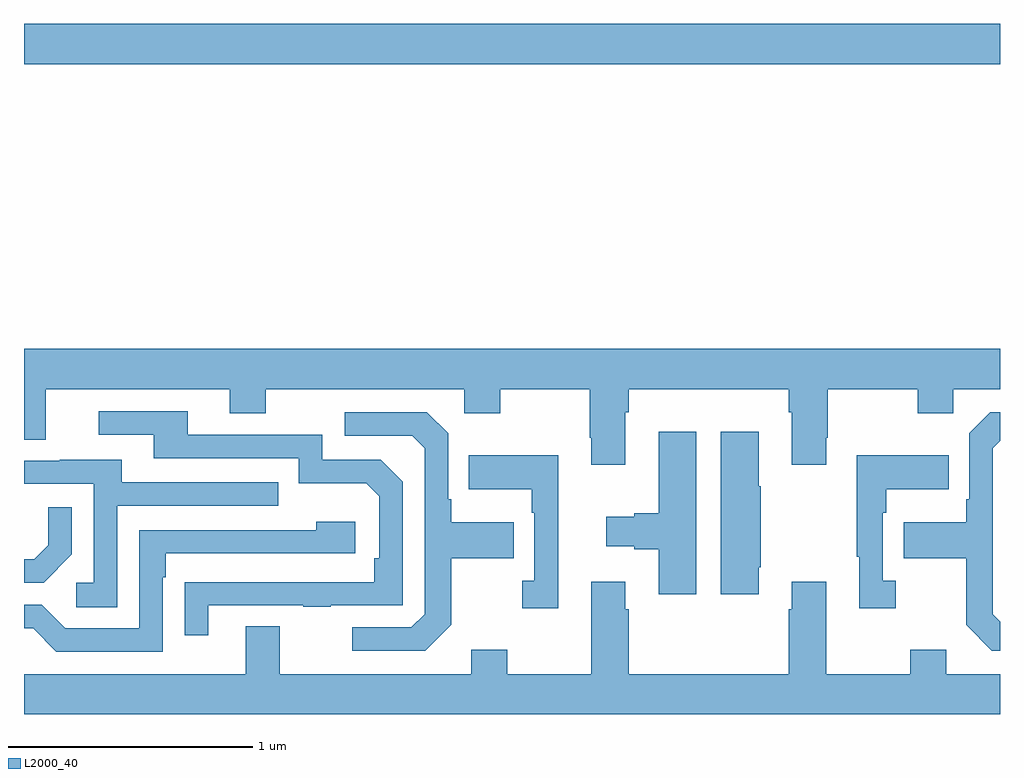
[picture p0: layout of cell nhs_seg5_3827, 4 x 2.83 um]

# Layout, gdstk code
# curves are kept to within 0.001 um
import gdstk
lib = gdstk.Library(unit=1e-6, precision=1e-09)
def R(c, l, rs):  # rectangles x0, y0, x1, y1
    for r in rs: c.add(gdstk.rectangle(r[:2], r[2:], *l))
def P(c, l, *ps):  # polygons
    for p in ps: c.add(gdstk.Polygon(p, *l))
L2000_40 = (2000, 40)

nhs_seg5_3827 = lib.new_cell('nhs_seg5_3827')
R(nhs_seg5_3827, L2000_40, [(335,914.036,339,914.2)])
P(nhs_seg5_3827, L2000_40, [(337.465,912.608),(337.478,912.608),(337.478,912.704),(338.135,912.704),(338.135,912.608),(338.147,912.608),(338.147,912.393),(338.287,912.393),(338.287,912.505),(338.295,912.505),(338.295,912.704),(338.662,912.704),(338.662,912.605),(338.808,912.605),(338.808,912.704),(339,912.704),(339,912.868),(335,912.868),(335,912.496),(335.089,912.496),(335.089,912.704),(335.843,912.704),(335.843,912.605),(335.991,912.605),(335.991,912.704),(336.804,912.704),(336.804,912.605),(336.951,912.605),(336.951,912.704),(337.318,912.704),(337.318,912.505),(337.325,912.505),(337.325,912.393),(337.465,912.393)],
  [(335.755,911.817),(336.145,911.817),(336.145,911.812),(336.257,911.812),(336.257,911.817),(336.552,911.817),(336.552,912.324),(336.462,912.414),(336.222,912.414),(336.222,912.516),(335.671,912.516),(335.671,912.612),(335.307,912.612),(335.307,912.516),(335.531,912.516),(335.531,912.42),(336.126,912.42),(336.126,912.317),(336.403,912.317),(336.456,912.264),(336.456,912.01),(336.436,912.01),(336.436,911.913),(335.659,911.912),(335.659,911.694),(335.755,911.694)],
  [(339,911.751),(338.97,911.781),(338.97,912.462),(339,912.492),(339,912.609),(338.961,912.609),(338.874,912.522),(338.874,912.253),(338.862,912.253),(338.862,912.157),(338.605,912.157),(338.605,912.01),(338.862,912.01),(338.862,911.737),(338.967,911.631),(339,911.631)],
  [(336.751,911.737),(336.751,912.01),(337.007,912.01),(337.007,912.157),(336.751,912.157),(336.751,912.253),(336.738,912.253),(336.738,912.522),(336.651,912.609),(336.315,912.609),(336.315,912.513),(336.591,912.513),(336.642,912.462),(336.642,911.781),(336.588,911.727),(336.345,911.727),(336.345,911.631),(336.645,911.631)],
  [(337.756,912.529),(337.601,912.529),(337.601,912.194),(337.502,912.194),(337.502,912.181),(337.386,912.181),(337.386,912.059),(337.502,912.059),(337.502,912.047),(337.601,912.047),(337.601,911.862),(337.756,911.862)],
  [(338.011,911.974),(338.019,911.974),(338.019,912.305),(338.011,912.305),(338.011,912.529),(337.856,912.529),(337.856,911.862),(338.011,911.862)],
  [(338.572,911.918),(338.52,911.918),(338.52,912.197),(338.533,912.197),(338.533,912.293),(338.789,912.293),(338.789,912.433),(338.412,912.433),(338.412,912.017),(338.423,912.017),(338.423,911.805),(338.572,911.805)],
  [(337.19,912.433),(336.823,912.433),(336.823,912.293),(337.08,912.293),(337.08,912.197),(337.092,912.197),(337.092,911.918),(337.041,911.918),(337.041,911.805),(337.19,911.805)],
  [(335.382,912.225),(336.041,912.225),(336.041,912.321),(335.401,912.321),(335.401,912.415),(335.147,912.415),(335.147,912.411),(335,912.411),(335,912.315),(335.286,912.315),(335.286,911.91),(335.214,911.91),(335.214,911.809),(335.382,911.809)],
  [(335.196,912.026),(335.196,912.22),(335.099,912.22),(335.099,912.063),(335.042,912.006),(335,912.006),(335,911.91),(335.08,911.91)],
  [(335.568,911.933),(335.581,911.933),(335.581,912.03),(336.358,912.03),(336.358,912.16),(336.197,912.16),(336.197,912.126),(335.472,912.126),(335.472,911.724),(335.169,911.724),(335.073,911.82),(335,911.82),(335,911.724),(335.037,911.724),(335.133,911.628),(335.568,911.628)],
  [(339,911.536),(338.779,911.536),(338.779,911.635),(338.632,911.635),(338.632,911.536),(338.287,911.536),(338.287,911.914),(338.147,911.914),(338.147,911.801),(338.135,911.801),(338.135,911.536),(337.478,911.536),(337.478,911.801),(337.465,911.801),(337.465,911.914),(337.325,911.914),(337.325,911.536),(336.981,911.536),(336.981,911.635),(336.833,911.635),(336.833,911.536),(336.049,911.536),(336.049,911.731),(335.909,911.731),(335.909,911.536),(335,911.536),(335,911.372),(339,911.372)])

lib.write_gds('nhs_seg5_3827.gds')
